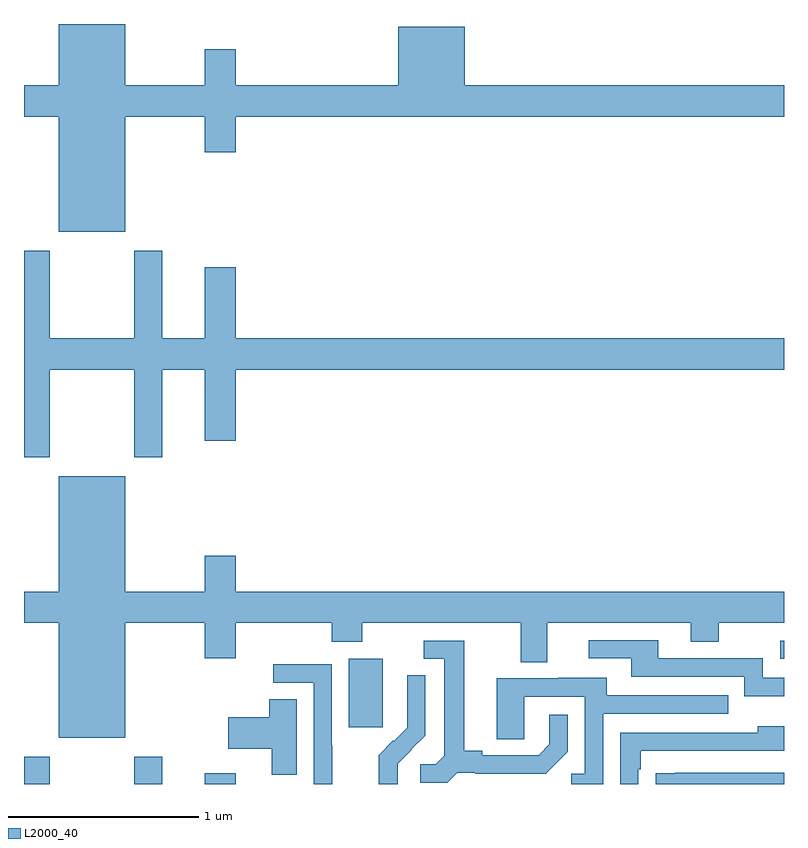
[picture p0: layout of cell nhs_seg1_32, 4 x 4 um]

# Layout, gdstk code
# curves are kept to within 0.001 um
import gdstk
lib = gdstk.Library(unit=1e-6, precision=1e-09)
def R(c, l, rs):  # rectangles x0, y0, x1, y1
    for r in rs: c.add(gdstk.rectangle(r[:2], r[2:], *l))
def P(c, l, *ps):  # polygons
    for p in ps: c.add(gdstk.Polygon(p, *l))
L2000_40 = (2000, 40)

nhs_seg1_32 = lib.new_cell('nhs_seg1_32')
R(nhs_seg1_32, L2000_40, [(111,568.199,111.135,568.342), (111.58,568.199,111.727,568.342), (111.95,568.199,112.114,568.255), (112.709,568.497,112.888,568.858), (114.981,568.857,115,568.953)])
P(nhs_seg1_32, L2000_40, [(111.532,571.712),(111.95,571.712),(111.95,571.524),(112.114,571.524),(112.114,571.712),(115,571.712),(115,571.876),(113.32,571.876),(113.32,572.185),(112.97,572.185),(112.97,571.876),(112.114,571.876),(112.114,572.065),(111.95,572.065),(111.95,571.876),(111.532,571.876),(111.532,572.199),(111.182,572.199),(111.182,571.876),(111,571.876),(111,571.712),(111.182,571.712),(111.182,571.106),(111.532,571.106)],
  [(111.135,570.38),(111.58,570.38),(111.58,569.919),(111.727,569.919),(111.727,570.38),(111.95,570.38),(111.95,570.006),(112.114,570.006),(112.114,570.38),(115,570.38),(115,570.544),(112.114,570.544),(112.114,570.919),(111.95,570.919),(111.95,570.544),(111.727,570.544),(111.727,571.006),(111.58,571.006),(111.58,570.544),(111.135,570.544),(111.135,571.006),(111,571.006),(111,569.919),(111.135,569.919)],
  [(111.532,569.048),(111.95,569.048),(111.95,568.86),(112.114,568.86),(112.114,569.048),(112.619,569.048),(112.619,568.949),(112.779,568.949),(112.779,569.048),(113.615,569.048),(113.615,568.84),(113.755,568.84),(113.755,569.048),(114.509,569.048),(114.509,568.949),(114.657,568.949),(114.657,569.048),(115,569.048),(115,569.212),(112.114,569.212),(112.114,569.401),(111.95,569.401),(111.95,569.212),(111.532,569.212),(111.532,569.818),(111.182,569.818),(111.182,569.212),(111,569.212),(111,569.048),(111.182,569.048),(111.182,568.442),(111.532,568.442)],
  [(115,568.758),(114.888,568.758),(114.888,568.86),(114.337,568.86),(114.337,568.956),(113.973,568.956),(113.973,568.86),(114.197,568.86),(114.197,568.764),(114.792,568.764),(114.792,568.661),(115,568.661)],
  [(113.28,568.257),(113.374,568.257),(113.374,568.254),(113.746,568.254),(113.862,568.37),(113.862,568.564),(113.765,568.564),(113.765,568.407),(113.708,568.35),(113.413,568.35),(113.413,568.373),(113.317,568.373),(113.317,568.953),(113.103,568.953),(113.103,568.857),(113.213,568.857),(113.213,568.349),(113.166,568.302),(113.085,568.302),(113.085,568.205),(113.228,568.205)],
  [(112.623,568.4),(112.62,568.4),(112.62,568.83),(112.311,568.83),(112.311,568.731),(112.524,568.731),(112.524,568.199),(112.623,568.199)],
  [(112.968,568.209),(112.966,568.209),(112.966,568.306),(113.112,568.454),(113.112,568.772),(113.016,568.772),(113.016,568.618),(113.018,568.618),(113.018,568.496),(112.947,568.425),(112.944,568.428),(112.867,568.351),(112.867,568.199),(112.968,568.199)],
  [(114.048,568.569),(114.707,568.569),(114.707,568.665),(114.067,568.665),(114.067,568.759),(113.813,568.759),(113.813,568.755),(113.489,568.755),(113.489,568.435),(113.634,568.435),(113.634,568.659),(113.952,568.659),(113.952,568.254),(113.88,568.254),(113.88,568.199),(114.048,568.199)],
  [(112.435,568.646),(112.292,568.646),(112.292,568.551),(112.074,568.551),(112.074,568.385),(112.304,568.385),(112.304,568.249),(112.435,568.249)],
  [(114.234,568.277),(114.247,568.277),(114.247,568.374),(115,568.374),(115,568.504),(114.863,568.504),(114.863,568.47),(114.138,568.47),(114.138,568.199),(114.234,568.199)],
  [(115,568.257),(114.427,568.257),(114.427,568.256),(114.325,568.256),(114.325,568.199),(115,568.199)])

lib.write_gds('nhs_seg1_32.gds')
